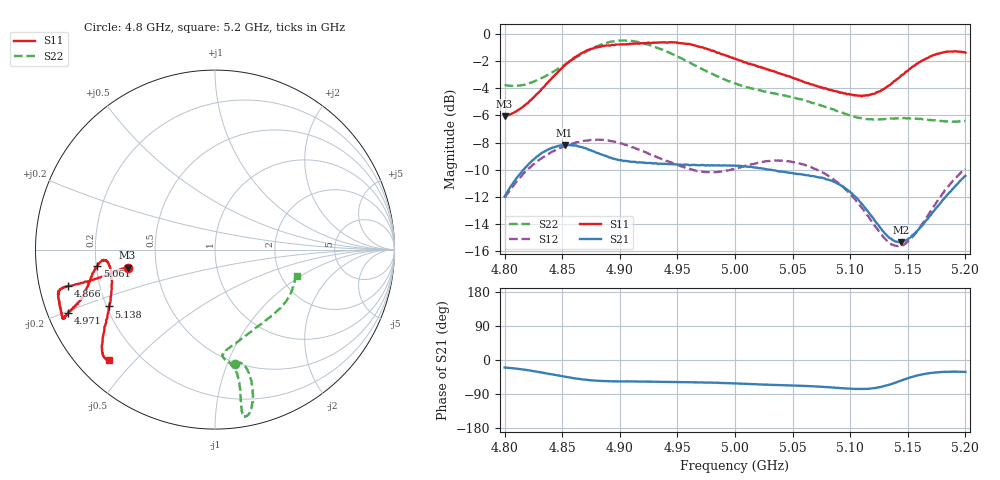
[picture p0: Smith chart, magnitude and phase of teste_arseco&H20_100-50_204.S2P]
! Network Analyzer HP8722D
! Hewlett-Packard
! Data name: Linha & Wilkinson
! Saver's name: Rodrigo Anjos
! Comments: Teste da utilização de aquisição
! continua pelo VNA HP8722D
! Time and date: 6/5/2025 14:16
!  Frequency  S11  S21  S12  S22
# HZ  S  MA R 50
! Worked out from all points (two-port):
!   401 points, 4.8 GHz to 5.2 GHz, reference 50 ohm
!   highest |S21| = -8.17 dB at 4.852 GHz (marker M1); lowest = -15.3 dB at 5.144 GHz (marker M2)
!   |S21| within 3 dB of the highest: 4.806 GHz to 5.093 GHz (286.7 MHz wide, 5.79 % of centre); 5.191601 GHz to end of sweep
!   lowest |S11| = -6.1 dB at 4.8 GHz (marker M3), VSWR 2.98, Z = 16.9 - j4.54 ohm
!   |S11| at or under -10 dB: nowhere
!   |S22| runs from -6.5 to -0.5 dB; largest |S21 - S12| = 0.62
!   S11 on the Smith chart (normalised r, x): 4.8 GHz: 0.34, -0.09; 4.866 GHz: 0.09, -0.12; 4.971 GHz: 0.06, -0.21; 5.061 GHz: 0.20, -0.07; 5.138 GHz: 0.21, -0.24; 5.2 GHz: 0.09, -0.42
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4.8e9  0.4972 -168.3  0.2525 -19.8  0.2494 -141.0  0.6478 -80.3
4.826e9  0.5882 -167.3  0.3476 -29.8  0.3328 -144.6  0.6689 -75.7
4.852e9  0.7642 -166.0  0.3905 -43.9  0.3869 -149.5  0.7692 -74.5
4.866e9  0.8435 -166.0  0.3836 -50.6  0.4018 -152.0  0.8378 -75.4
4.867e9  0.8486 -166.0  0.3835 -51.1  0.4027 -152.1  0.8433 -75.4
4.899e9  0.9126 -163.0  0.3432 -56.6  0.3972 -156.8  0.9436 -79.1
4.913e9  0.9193 -159.9  0.3386 -56.6  0.3807 -157.1  0.9364 -80.2
4.934e9  0.9291 -156.6  0.3325 -57.6  0.3502 -155.7  0.8822 -80.5
4.953e9  0.9229 -155.5  0.3305 -58.1  0.3257 -152.2  0.8133 -79.9
4.971e9  0.8918 -156.7  0.3293 -59.4  0.3116 -146.6  0.7435 -79.6
5e9  0.8098 -159.1  0.3279 -61.9  0.3196 -137.3  0.6568 -81.4
5.036e9  0.7222 -165.7  0.3137 -66.0  0.3417 -134.4  0.6019 -85.6
5.061e9  0.662 -172.1  0.3029 -68.4  0.3291 -136.4  0.5688 -83.9
5.067e9  0.6506 -173.2  0.3003 -69.2  0.3223 -136.8  0.5573 -82.7
5.083e9  0.6209 -174.6  0.2887 -72.3  0.2966 -138.3  0.5309 -76.8
5.101e9  0.5978 -172.0  0.2601 -75.8  0.2548 -138.8  0.5009 -66.4
5.116e9  0.5942 -165.5  0.2207 -76.0  0.2124 -135.6  0.4855 -55.7
5.134e9  0.6467 -154.1  0.1777 -65.2  0.1705 -120.6  0.4862 -43.3
5.138e9  0.6695 -151.8  0.1736 -61.1  0.1669 -115.5  0.4875 -40.9
5.144e9  0.7002 -148.8  0.1713 -54.6  0.166 -107.5  0.4888 -37.4
5.173e9  0.836 -138.9  0.2242 -33.3  0.2336 -80.9  0.4814 -24.2
5.2e9  0.8521 -133.7  0.3005 -31.5  0.3191 -77.0  0.4784 -17.6
